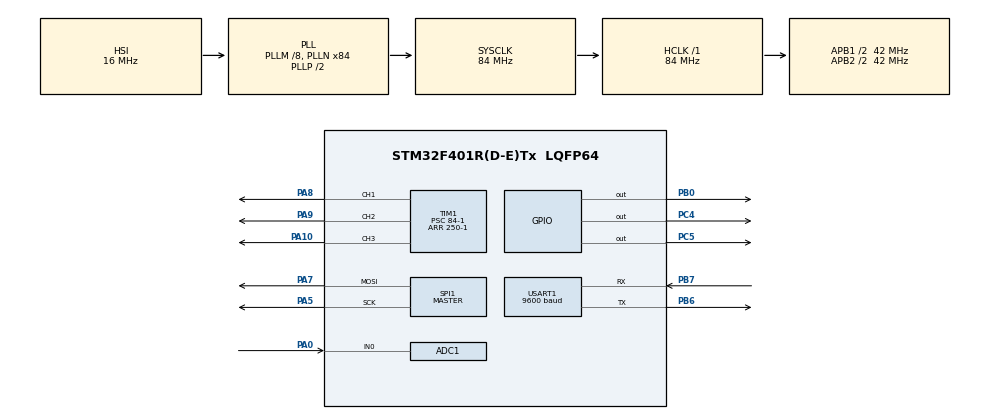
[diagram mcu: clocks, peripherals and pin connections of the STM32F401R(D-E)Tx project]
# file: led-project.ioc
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ADC1.Channel-0\#ChannelRegularConversion=ADC_CHANNEL_0
ADC1.ClockPrescaler=ADC_CLOCK_SYNC_PCLK_DIV8
ADC1.ContinuousConvMode=ENABLE
ADC1.NbrOfConversion=1
ADC1.NbrOfConversionFlag=1
ADC1.Rank-0\#ChannelRegularConversion=1
ADC1.SamplingTime-0\#ChannelRegularConversion=ADC_SAMPLETIME_3CYCLES
ADC1.master=1
Dma.ADC1.0.Direction=DMA_PERIPH_TO_MEMORY
Dma.ADC1.0.FIFOMode=DMA_FIFOMODE_DISABLE
Dma.ADC1.0.Instance=DMA2_Stream0
Dma.ADC1.0.MemDataAlignment=DMA_MDATAALIGN_HALFWORD
Dma.ADC1.0.MemInc=DMA_MINC_ENABLE
Dma.ADC1.0.Mode=DMA_CIRCULAR
Dma.ADC1.0.PeriphDataAlignment=DMA_PDATAALIGN_HALFWORD
Dma.ADC1.0.PeriphInc=DMA_PINC_DISABLE
Dma.ADC1.0.Priority=DMA_PRIORITY_LOW
Dma.Request0=ADC1
Mcu.Family=STM32F4
Mcu.Name=STM32F401R(D-E)Tx
Mcu.Package=LQFP64
NVIC.DMA2_Stream0_IRQn=true\:0\:0\:false\:false\:true\:false\:true\:true
NVIC.PriorityGroup=NVIC_PRIORITYGROUP_4
NVIC.TIM2_IRQn=true\:0\:0\:false\:false\:true\:true\:true\:true
NVIC.TIM3_IRQn=true\:0\:0\:false\:false\:true\:true\:true\:true
NVIC.USART1_IRQn=true\:0\:0\:false\:false\:true\:true\:true\:true
PA0-WKUP.Signal=ADCx_IN0
PA10.Signal=S_TIM1_CH3
PA13.Mode=Serial_Wire
PA13.Signal=SYS_JTMS-SWDIO
PA14.Mode=Serial_Wire
PA14.Signal=SYS_JTCK-SWCLK
PA5.Mode=TX_Only_Simplex_Unidirect_Master
PA5.Signal=SPI1_SCK
PA7.Mode=TX_Only_Simplex_Unidirect_Master
PA7.Signal=SPI1_MOSI
PA8.Signal=S_TIM1_CH1
PA9.Signal=S_TIM1_CH2
PB0.Signal=GPIO_Output
PB6.Mode=Asynchronous
PB6.Signal=USART1_TX
PB7.Mode=Asynchronous
PB7.Signal=USART1_RX
PC4.Signal=GPIO_Output
PC5.Signal=GPIO_Output
PH0\ -\ OSC_IN.Mode=HSE-External-Oscillator
PH0\ -\ OSC_IN.Signal=RCC_OSC_IN
PH1\ -\ OSC_OUT.Mode=HSE-External-Oscillator
PH1\ -\ OSC_OUT.Signal=RCC_OSC_OUT
ProjectManager.HeapSize=0x200
ProjectManager.StackSize=0x400
ProjectManager.TargetToolchain=STM32CubeIDE
RCC.48MHZClocksFreq_Value=42000000
RCC.AHBFreq_Value=84000000
RCC.APB1CLKDivider=RCC_HCLK_DIV2
RCC.APB1Freq_Value=42000000
RCC.APB1TimFreq_Value=84000000
RCC.APB2CLKDivider=RCC_HCLK_DIV2
RCC.APB2Freq_Value=42000000
RCC.APB2TimFreq_Value=84000000
RCC.CortexFreq_Value=84000000
RCC.HCLKFreq_Value=84000000
RCC.HSE_VALUE=25000000
RCC.HSI_VALUE=16000000
RCC.LSE_VALUE=32768
RCC.PLLM=8
RCC.PLLN=84
RCC.SYSCLKFreq_VALUE=84000000
RCC.SYSCLKSource=RCC_SYSCLKSOURCE_PLLCLK
RCC.VCOOutputFreq_Value=168000000
SH.ADCx_IN0.0=ADC1_IN0,IN0
SH.S_TIM1_CH1.0=TIM1_CH1,PWM Generation1 CH1
SH.S_TIM1_CH2.0=TIM1_CH2,PWM Generation2 CH2
SH.S_TIM1_CH3.0=TIM1_CH3,PWM Generation3 CH3
SPI1.Direction=SPI_DIRECTION_2LINES
SPI1.Mode=SPI_MODE_MASTER
SPI1.VirtualType=VM_MASTER
TIM1.Channel-PWM\ Generation1\ CH1=TIM_CHANNEL_1
TIM1.Channel-PWM\ Generation2\ CH2=TIM_CHANNEL_2
TIM1.Channel-PWM\ Generation3\ CH3=TIM_CHANNEL_3
TIM1.Period=250-1
TIM1.Prescaler=84-1
TIM2.Period=1-1
TIM2.Prescaler=840-1
TIM3.Period=10-1
TIM3.Prescaler=8400-1
USART1.BaudRate=9600
USART1.Parity=PARITY_NONE
USART1.StopBits=STOPBITS_1
USART1.VirtualMode=VM_ASYNC
VP_TIM1_VS_ClockSourceINT.Mode=Internal
VP_TIM2_VS_ClockSourceINT.Mode=Internal
VP_TIM3_VS_ClockSourceINT.Mode=Internal
board=custom

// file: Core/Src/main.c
/* USER CODE BEGIN Header */
/**
 ******************************************************************************
 * @file           : main.c
 * @brief          : Main program body
 ******************************************************************************
 * @attention
 *
 * Copyright (c) 2023 STMicroelectronics.
 * All rights reserved.
 *
 * This software is licensed under terms that can be found in the LICENSE file
 * in the root directory of this software component.
 * If no LICENSE file comes with this software, it is provided AS-IS.
 *
 ******************************************************************************
 */
/* USER CODE END Header */
#include "main.h"

/* USER CODE BEGIN Includes */
#include "nokia5110_LCD.h"
#include <string.h>
#include <stdlib.h>
#include "RGB_led.h"
/* USER CODE END Includes */

/* USER CODE BEGIN PD */
#define UARTBUFSIZE 10
/* USER CODE END PD */

ADC_HandleTypeDef hadc1;
DMA_HandleTypeDef hdma_adc1;

SPI_HandleTypeDef hspi1;

TIM_HandleTypeDef htim1;
TIM_HandleTypeDef htim2;
TIM_HandleTypeDef htim3;

UART_HandleTypeDef huart1;

/* USER CODE BEGIN PV */
char UARTRecieveBuffer[UARTBUFSIZE];
int8_t UARTBufIterator;
/* USER CODE END PV */

void SystemClock_Config(void);
static void MX_GPIO_Init(void);
static void MX_DMA_Init(void);
static void MX_ADC1_Init(void);
static void MX_TIM1_Init(void);
static void MX_TIM2_Init(void);
static void MX_USART1_UART_Init(void);
static void MX_TIM3_Init(void);
static void MX_SPI1_Init(void);

int main(void)
{

    /* MCU Configuration--------------------------------------------------------*/

    /* Reset of all peripherals, Initializes the Flash interface and the Systick. */
    HAL_Init();

    /* Configure the system clock */
    SystemClock_Config();

    /* Initialize all configured peripherals */
    MX_GPIO_Init();
    MX_DMA_Init();
    MX_ADC1_Init();
    MX_TIM1_Init();
    MX_TIM2_Init();
    MX_USART1_UART_Init();
    MX_TIM3_Init();
    MX_SPI1_Init();
    /* USER CODE BEGIN 2 */
    HAL_ADC_Start(&hadc1);
    HAL_UART_Receive_IT(&huart1, (uint8_t *) &UARTRecieveBuffer[UARTBufIterator++], 1);
    HAL_TIM_PWM_Start(&htim1, TIM_CHANNEL_1);
    HAL_TIM_PWM_Start(&htim1, TIM_CHANNEL_2);
    HAL_TIM_PWM_Start(&htim1, TIM_CHANNEL_3);
    LCD_setRST(GPIOC, GPIO_PIN_4);
    LCD_setCE(GPIOC, GPIO_PIN_5);
    LCD_setDC(GPIOB, GPIO_PIN_0);
    LCD_init();
    LCD_print("hello", 4, 3);
    srand(0);
    /* USER CODE END 2 */

    /* Infinite loop */
    while (1) {

        /* USER CODE BEGIN 3 */
        /*test bluetooth communication */
//        uint8_t buf[] = "W";
//        HAL_UART_Transmit(&huart1, (uint8_t *) buf, sizeof(buf), 100);
//        HAL_Delay(1000);

    }
  /* USER CODE END 3 */
}

void SystemClock_Config(void) {
    RCC_OscInitTypeDef RCC_OscInitStruct = {0};
    RCC_ClkInitTypeDef RCC_ClkInitStruct = {0};

    /** Configure the main internal regulator output voltage
    */
    __HAL_RCC_PWR_CLK_ENABLE();
    __HAL_PWR_VOLTAGESCALING_CONFIG(PWR_REGULATOR_VOLTAGE_SCALE2);

    /** Initializes the RCC Oscillators according to the specified parameters
    * in the RCC_OscInitTypeDef structure.
    */
    RCC_OscInitStruct.OscillatorType = RCC_OSCILLATORTYPE_HSI;
    RCC_OscInitStruct.HSIState = RCC_HSI_ON;
    RCC_OscInitStruct.HSICalibrationValue = RCC_HSICALIBRATION_DEFAULT;
    RCC_OscInitStruct.PLL.PLLState = RCC_PLL_ON;
    RCC_OscInitStruct.PLL.PLLSource = RCC_PLLSOURCE_HSI;
    RCC_OscInitStruct.PLL.PLLM = 8;
    RCC_OscInitStruct.PLL.PLLN = 84;
    RCC_OscInitStruct.PLL.PLLP = RCC_PLLP_DIV2;
    RCC_OscInitStruct.PLL.PLLQ = 4;
    if (HAL_RCC_OscConfig(&RCC_OscInitStruct) != HAL_OK) {
        Error_Handler();
    }

    /** Initializes the CPU, AHB and APB buses clocks
    */
    RCC_ClkInitStruct.ClockType = RCC_CLOCKTYPE_HCLK | RCC_CLOCKTYPE_SYSCLK
                                  | RCC_CLOCKTYPE_PCLK1 | RCC_CLOCKTYPE_PCLK2;
    RCC_ClkInitStruct.SYSCLKSource = RCC_SYSCLKSOURCE_PLLCLK;
    RCC_ClkInitStruct.AHBCLKDivider = RCC_SYSCLK_DIV1;
    RCC_ClkInitStruct.APB1CLKDivider = RCC_HCLK_DIV2;
    RCC_ClkInitStruct.APB2CLKDivider = RCC_HCLK_DIV2;

    if (HAL_RCC_ClockConfig(&RCC_ClkInitStruct, FLASH_LATENCY_2) != HAL_OK) {
        Error_Handler();
    }
}

static void MX_ADC1_Init(void)
{

    ADC_ChannelConfTypeDef sConfig = {0};

    /** Configure the global features of the ADC (Clock, Resolution, Data Alignment and number of conversion)
    */
    hadc1.Instance = ADC1;
    hadc1.Init.ClockPrescaler = ADC_CLOCK_SYNC_PCLK_DIV8;
    hadc1.Init.Resolution = ADC_RESOLUTION_12B;
    hadc1.Init.ScanConvMode = DISABLE;
    hadc1.Init.ContinuousConvMode = ENABLE;
    hadc1.Init.DiscontinuousConvMode = DISABLE;
    hadc1.Init.ExternalTrigConvEdge = ADC_EXTERNALTRIGCONVEDGE_NONE;
    hadc1.Init.ExternalTrigConv = ADC_SOFTWARE_START;
    hadc1.Init.DataAlign = ADC_DATAALIGN_RIGHT;
    hadc1.Init.NbrOfConversion = 1;
    hadc1.Init.DMAContinuousRequests = DISABLE;
    hadc1.Init.EOCSelection = EOC_SEQ_CONV;
    if (HAL_ADC_Init(&hadc1) != HAL_OK) {
        Error_Handler();
    }

    /** Configure for the selected ADC regular channel its corresponding rank in the sequencer and its sample time.
    */
    sConfig.Channel = ADC_CHANNEL_0;
    sConfig.Rank = 1;
    sConfig.SamplingTime = ADC_SAMPLETIME_3CYCLES;
    if (HAL_ADC_ConfigChannel(&hadc1, &sConfig) != HAL_OK) {
        Error_Handler();
    }

}

static void MX_SPI1_Init(void) {

    /* SPI1 parameter configuration*/
    hspi1.Instance = SPI1;
    hspi1.Init.Mode = SPI_MODE_MASTER;
    hspi1.Init.Direction = SPI_DIRECTION_2LINES;
    hspi1.Init.DataSize = SPI_DATASIZE_8BIT;
    hspi1.Init.CLKPolarity = SPI_POLARITY_LOW;
    hspi1.Init.CLKPhase = SPI_PHASE_1EDGE;
    hspi1.Init.NSS = SPI_NSS_SOFT;
    hspi1.Init.BaudRatePrescaler = SPI_BAUDRATEPRESCALER_16;
    hspi1.Init.FirstBit = SPI_FIRSTBIT_MSB;
    hspi1.Init.TIMode = SPI_TIMODE_DISABLE;
    hspi1.Init.CRCCalculation = SPI_CRCCALCULATION_DISABLE;
    hspi1.Init.CRCPolynomial = 10;
    if (HAL_SPI_Init(&hspi1) != HAL_OK) {
        Error_Handler();
    }

}

static void MX_TIM1_Init(void) {

    TIM_ClockConfigTypeDef sClockSourceConfig = {0};
    TIM_MasterConfigTypeDef sMasterConfig = {0};
    TIM_OC_InitTypeDef sConfigOC = {0};
    TIM_BreakDeadTimeConfigTypeDef sBreakDeadTimeConfig = {0};

    htim1.Instance = TIM1;
    htim1.Init.Prescaler = 84 - 1;
    htim1.Init.CounterMode = TIM_COUNTERMODE_UP;
    htim1.Init.Period = 250 - 1;
    htim1.Init.ClockDivision = TIM_CLOCKDIVISION_DIV1;
    htim1.Init.RepetitionCounter = 0;
    htim1.Init.AutoReloadPreload = TIM_AUTORELOAD_PRELOAD_DISABLE;
    if (HAL_TIM_Base_Init(&htim1) != HAL_OK) {
        Error_Handler();
    }
    sClockSourceConfig.ClockSource = TIM_CLOCKSOURCE_INTERNAL;
    if (HAL_TIM_ConfigClockSource(&htim1, &sClockSourceConfig) != HAL_OK) {
        Error_Handler();
    }
    if (HAL_TIM_PWM_Init(&htim1) != HAL_OK) {
        Error_Handler();
    }
    sMasterConfig.MasterOutputTrigger = TIM_TRGO_RESET;
    sMasterConfig.MasterSlaveMode = TIM_MASTERSLAVEMODE_DISABLE;
    if (HAL_TIMEx_MasterConfigSynchronization(&htim1, &sMasterConfig) != HAL_OK) {
        Error_Handler();
    }
    sConfigOC.OCMode = TIM_OCMODE_PWM1;
    sConfigOC.Pulse = 0;
    sConfigOC.OCPolarity = TIM_OCPOLARITY_HIGH;
    sConfigOC.OCNPolarity = TIM_OCNPOLARITY_HIGH;
    sConfigOC.OCFastMode = TIM_OCFAST_DISABLE;
    sConfigOC.OCIdleState = TIM_OCIDLESTATE_RESET;
    sConfigOC.OCNIdleState = TIM_OCNIDLESTATE_RESET;
    if (HAL_TIM_PWM_ConfigChannel(&htim1, &sConfigOC, TIM_CHANNEL_1) != HAL_OK) {
        Error_Handler();
    }
    if (HAL_TIM_PWM_ConfigChannel(&htim1, &sConfigOC, TIM_CHANNEL_2) != HAL_OK) {
        Error_Handler();
    }
    if (HAL_TIM_PWM_ConfigChannel(&htim1, &sConfigOC, TIM_CHANNEL_3) != HAL_OK) {
        Error_Handler();
    }
  sBreakDeadTimeConfig.OffStateRunMode = TIM_OSSR_DISABLE;
  sBreakDeadTimeConfig.OffStateIDLEMode = TIM_OSSI_DISABLE;
  sBreakDeadTimeConfig.LockLevel = TIM_LOCKLEVEL_OFF;
  sBreakDeadTimeConfig.DeadTime = 0;
  sBreakDeadTimeConfig.BreakState = TIM_BREAK_DISABLE;
  sBreakDeadTimeConfig.BreakPolarity = TIM_BREAKPOLARITY_HIGH;
  sBreakDeadTimeConfig.AutomaticOutput = TIM_AUTOMATICOUTPUT_DISABLE;
  if (HAL_TIMEx_ConfigBreakDeadTime(&htim1, &sBreakDeadTimeConfig) != HAL_OK)
  {
    Error_Handler();
  }
  HAL_TIM_MspPostInit(&htim1);

}

static void MX_TIM2_Init(void) {

    TIM_ClockConfigTypeDef sClockSourceConfig = {0};
    TIM_MasterConfigTypeDef sMasterConfig = {0};

    htim2.Instance = TIM2;
    htim2.Init.Prescaler = 840 - 1;
    htim2.Init.CounterMode = TIM_COUNTERMODE_UP;
    htim2.Init.Period = 1 - 1;
    htim2.Init.ClockDivision = TIM_CLOCKDIVISION_DIV1;
    htim2.Init.AutoReloadPreload = TIM_AUTORELOAD_PRELOAD_DISABLE;
    if (HAL_TIM_Base_Init(&htim2) != HAL_OK) {
        Error_Handler();
    }
    sClockSourceConfig.ClockSource = TIM_CLOCKSOURCE_INTERNAL;
    if (HAL_TIM_ConfigClockSource(&htim2, &sClockSourceConfig) != HAL_OK) {
        Error_Handler();
    }
    sMasterConfig.MasterOutputTrigger = TIM_TRGO_RESET;
    sMasterConfig.MasterSlaveMode = TIM_MASTERSLAVEMODE_DISABLE;
    if (HAL_TIMEx_MasterConfigSynchronization(&htim2, &sMasterConfig) != HAL_OK) {
        Error_Handler();
    }

}

static void MX_TIM3_Init(void) {

    TIM_ClockConfigTypeDef sClockSourceConfig = {0};
    TIM_MasterConfigTypeDef sMasterConfig = {0};

    htim3.Instance = TIM3;
    htim3.Init.Prescaler = 8400 - 1;
    htim3.Init.CounterMode = TIM_COUNTERMODE_UP;
    htim3.Init.Period = 10 - 1;
    htim3.Init.ClockDivision = TIM_CLOCKDIVISION_DIV1;
    htim3.Init.AutoReloadPreload = TIM_AUTORELOAD_PRELOAD_DISABLE;
    if (HAL_TIM_Base_Init(&htim3) != HAL_OK) {
        Error_Handler();
    }
    sClockSourceConfig.ClockSource = TIM_CLOCKSOURCE_INTERNAL;
    if (HAL_TIM_ConfigClockSource(&htim3, &sClockSourceConfig) != HAL_OK) {
        Error_Handler();
    }
    sMasterConfig.MasterOutputTrigger = TIM_TRGO_RESET;
    sMasterConfig.MasterSlaveMode = TIM_MASTERSLAVEMODE_DISABLE;
    if (HAL_TIMEx_MasterConfigSynchronization(&htim3, &sMasterConfig) != HAL_OK) {
        Error_Handler();
    }

}

static void MX_USART1_UART_Init(void) {

    huart1.Instance = USART1;
    huart1.Init.BaudRate = 9600;
    huart1.Init.WordLength = UART_WORDLENGTH_8B;
    huart1.Init.StopBits = UART_STOPBITS_1;
    huart1.Init.Parity = UART_PARITY_NONE;
    huart1.Init.Mode = UART_MODE_TX_RX;
    huart1.Init.HwFlowCtl = UART_HWCONTROL_NONE;
    huart1.Init.OverSampling = UART_OVERSAMPLING_16;
    if (HAL_UART_Init(&huart1) != HAL_OK) {
        Error_Handler();
    }

}

static void MX_DMA_Init(void)
{

  /* DMA controller clock enable */
  __HAL_RCC_DMA2_CLK_ENABLE();

  /* DMA interrupt init */
  /* DMA2_Stream0_IRQn interrupt configuration */
  HAL_NVIC_SetPriority(DMA2_Stream0_IRQn, 0, 0);
  HAL_NVIC_EnableIRQ(DMA2_Stream0_IRQn);

}

static void MX_GPIO_Init(void)
{
  GPIO_InitTypeDef GPIO_InitStruct = {0};

  /* GPIO Ports Clock Enable */
  __HAL_RCC_GPIOH_CLK_ENABLE();
  __HAL_RCC_GPIOA_CLK_ENABLE();
  __HAL_RCC_GPIOC_CLK_ENABLE();
  __HAL_RCC_GPIOB_CLK_ENABLE();

  /*Configure GPIO pin Output Level */
  HAL_GPIO_WritePin(GPIOC, GPIO_PIN_4|GPIO_PIN_5, GPIO_PIN_RESET);

  /*Configure GPIO pin Output Level */
  HAL_GPIO_WritePin(GPIOB, GPIO_PIN_0, GPIO_PIN_RESET);

  /*Configure GPIO pins : PC4 PC5 */
  GPIO_InitStruct.Pin = GPIO_PIN_4|GPIO_PIN_5;
  GPIO_InitStruct.Mode = GPIO_MODE_OUTPUT_PP;
  GPIO_InitStruct.Pull = GPIO_NOPULL;
  GPIO_InitStruct.Speed = GPIO_SPEED_FREQ_LOW;
  HAL_GPIO_Init(GPIOC, &GPIO_InitStruct);

  /*Configure GPIO pin : PB0 */
  GPIO_InitStruct.Pin = GPIO_PIN_0;
  GPIO_InitStruct.Mode = GPIO_MODE_OUTPUT_PP;
  GPIO_InitStruct.Pull = GPIO_NOPULL;
  GPIO_InitStruct.Speed = GPIO_SPEED_FREQ_LOW;
  HAL_GPIO_Init(GPIOB, &GPIO_InitStruct);

}

/* USER CODE BEGIN 4 */
void HAL_UART_RxCpltCallback(UART_HandleTypeDef *huart) {
    if (huart->Instance == USART1) {
        // Process the received data here
        // ...
        if (UARTRecieveBuffer[UARTBufIterator - 1] == '\0' || UARTRecieveBuffer[UARTBufIterator - 1] == '\r' ||
            UARTRecieveBuffer[UARTBufIterator - 1] == '\n') {
            parseString(UARTRecieveBuffer);
            memset(UARTRecieveBuffer, 0, sizeof(UARTRecieveBuffer));
            UARTBufIterator = 0;
        }
        // Restart reception for the next byte
    }
    HAL_UART_Receive_IT(&huart1, (uint8_t *) &UARTRecieveBuffer[UARTBufIterator++], 1);

}
/* USER CODE END 4 */

void Error_Handler(void)
{
	__disable_irq();
	while (1) {
	}
}
